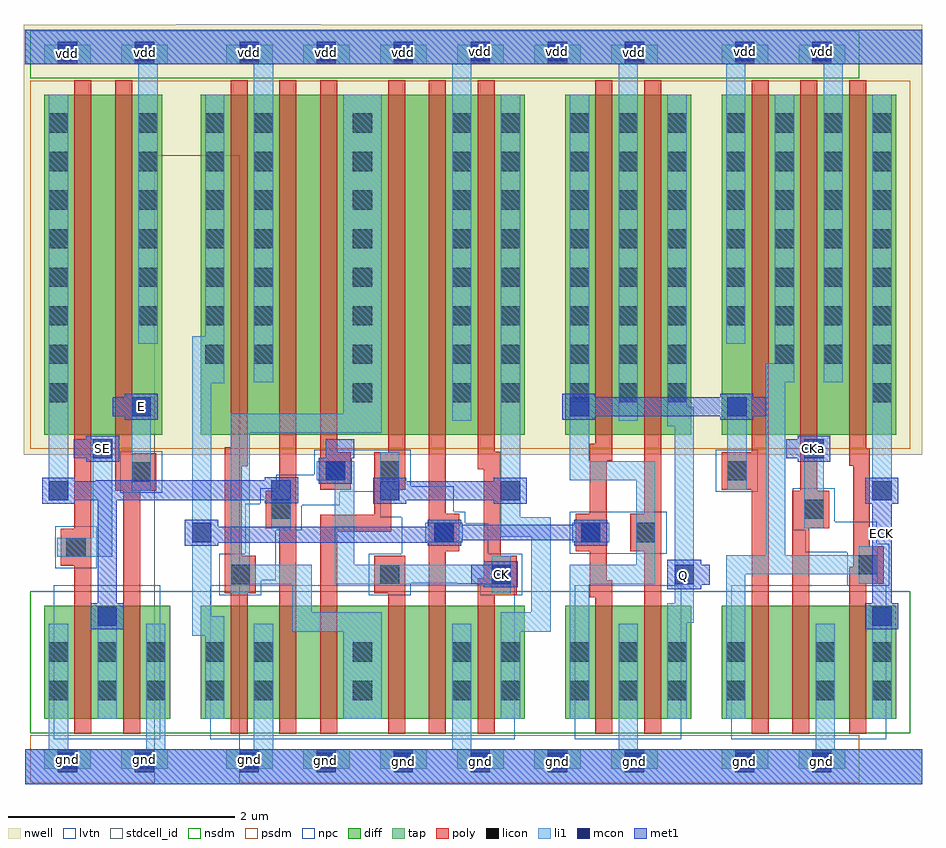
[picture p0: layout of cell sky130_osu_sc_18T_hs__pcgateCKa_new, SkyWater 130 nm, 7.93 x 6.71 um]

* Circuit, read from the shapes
.subckt sky130_osu_sc_18T_hs__pcgateCKa_new CK CKa E ECK Q SE gnd vdd
XM1 n1 SE gnd gnd sky130_fd_pr__nfet_01v8_lvt w=1 l=0.15
XM2 gnd E n1 gnd sky130_fd_pr__nfet_01v8_lvt w=1 l=0.15
XM3 gnd n2 n3 gnd sky130_fd_pr__nfet_01v8_lvt w=1 l=0.15
XM4 n4 n1 gnd gnd sky130_fd_pr__nfet_01v8_lvt w=1 l=0.15
XM5 n2 n5 n4 gnd sky130_fd_pr__nfet_01v8_lvt w=1 l=0.15
XM6 n6 CK n2 gnd sky130_fd_pr__nfet_01v8_lvt w=1 l=0.15
XM7 gnd n3 n6 gnd sky130_fd_pr__nfet_01v8_lvt w=1 l=0.15
XM8 n5 CK gnd gnd sky130_fd_pr__nfet_01v8_lvt w=1 l=0.15
XM9 gnd n3 n7 gnd sky130_fd_pr__nfet_01v8_lvt w=1 l=0.15
XM10 Q n7 gnd gnd sky130_fd_pr__nfet_01v8_lvt w=1 l=0.15
XM11 n8 n7 n9 gnd sky130_fd_pr__nfet_01v8_lvt w=1 l=0.15
XM12 gnd CKa n8 gnd sky130_fd_pr__nfet_01v8_lvt w=1 l=0.15
XM13 ECK n9 gnd gnd sky130_fd_pr__nfet_01v8_lvt w=1 l=0.15
XM14 n10 SE n1 vdd sky130_fd_pr__pfet_01v8 w=3 l=0.15
XM15 vdd E n10 vdd sky130_fd_pr__pfet_01v8 w=3 l=0.15
XM16 vdd n2 n3 vdd sky130_fd_pr__pfet_01v8 w=3 l=0.15
XM17 n11 n1 vdd vdd sky130_fd_pr__pfet_01v8 w=3 l=0.15
XM18 n2 CK n11 vdd sky130_fd_pr__pfet_01v8 w=3 l=0.15
XM19 n12 n5 n2 vdd sky130_fd_pr__pfet_01v8 w=3 l=0.15
XM20 vdd n3 n12 vdd sky130_fd_pr__pfet_01v8 w=3 l=0.15
XM21 n5 CK vdd vdd sky130_fd_pr__pfet_01v8 w=3 l=0.15
XM22 vdd n3 n7 vdd sky130_fd_pr__pfet_01v8 w=3 l=0.15
XM23 Q n7 vdd vdd sky130_fd_pr__pfet_01v8 w=3 l=0.15
XM24 n9 n7 vdd vdd sky130_fd_pr__pfet_01v8 w=3 l=0.15
XM25 vdd CKa n9 vdd sky130_fd_pr__pfet_01v8 w=3 l=0.15
XM26 ECK n9 vdd vdd sky130_fd_pr__pfet_01v8 w=3 l=0.15
.ends

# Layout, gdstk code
import gdstk
lib = gdstk.Library(unit=1e-6, precision=1e-09)
def R(c, l, rs):  # rectangles x0, y0, x1, y1
    for r in rs: c.add(gdstk.rectangle(r[:2], r[2:], *l))
def A(c, l, x, y, w, h, nx, ny, dx, dy):  # array of equal rectangles
    R(c, l, [(x+i*dx, y+j*dy, x+i*dx+w, y+j*dy+h) for i in range(nx) for j in range(ny)])
nwell = (64, 20)
diff = (65, 20)
tap = (65, 44)
poly = (66, 20)
licon = (66, 44)
li1 = (67, 20)
mcon = (67, 44)
met1 = (68, 20)
stdcell_id = (81, 4)
nsdm = (93, 44)
psdm = (94, 20)
npc = (95, 20)
lvtn = (125, 44)

sky130_osu_sc_18t_hs__pc = lib.new_cell('sky130_osu_sc_18T_hs__pcgateCKa_new')
R(sky130_osu_sc_18t_hs__pc, nwell, [(-1.345,2.905,6.585,6.705), (0,6.705,1.275,6.71)])
R(sky130_osu_sc_18t_hs__pc, diff, [(-1.165,0.575,-0.055,1.575), (0.215,0.575,3.075,1.575), (3.435,0.575,4.545,1.575), (4.815,0.575,6.355,1.575), (-1.165,3.085,-0.125,6.085), (0.215,3.085,3.075,6.085), (3.435,3.085,4.545,6.085), (4.815,3.085,6.355,6.085)])
A(sky130_osu_sc_18t_hs__pc, tap, 0.44, 0.135, 0.41, 0.17, 6, 2, 0.68, 6.22)
R(sky130_osu_sc_18t_hs__pc, tap, [(-1.165,0.135,-0.755,0.305), (-0.485,0.135,-0.075,0.305), (4.815,0.135,5.225,0.305), (5.495,0.135,5.905,0.305), (-1.165,6.355,-0.755,6.525), (-0.485,6.355,-0.075,6.525), (4.815,6.355,5.225,6.525), (5.495,6.355,5.905,6.525)])
R(sky130_osu_sc_18t_hs__pc, poly, [(-0.9,0.445,-0.75,1.925), (-0.47,0.445,-0.32,2.59), (0.48,0.445,0.63,1.685), (0.91,0.445,1.06,2.26), (1.27,0.445,1.42,2.225), (1.87,0.445,2.02,1.685), (2.23,0.445,2.38,2.055), (2.66,0.445,2.81,1.665), (3.7,0.445,3.85,1.65), (4.13,0.445,4.28,2.055), (5.08,0.445,5.23,2.6), (5.44,0.445,5.59,2.26), (5.94,0.445,6.09,1.77), (3.65,1.65,3.85,1.8), (2.66,1.665,3.005,1.815), (0.43,1.685,0.7,2.015), (1.75,1.685,2.02,2.015), (5.94,1.77,6.245,1.92), (3.65,1.8,3.8,2.055), (2.715,1.815,3.005,2.015), (5.975,1.92,6.245,2.1), (-1.02,1.925,-0.75,2.255), (0.43,2.015,0.58,2.805), (2.715,2.015,2.865,2.78), (2.23,2.055,2.5,2.385), (3.525,2.055,3.8,2.385), (4.01,2.055,4.28,2.385), (5.975,2.1,6.125,2.81), (1.27,2.225,1.9,2.375), (-0.9,2.255,-0.75,6.215), (0.79,2.26,1.06,2.59), (5.44,2.26,5.765,2.59), (1.75,2.375,1.9,2.6), (2.23,2.385,2.38,6.215), (3.65,2.385,3.8,2.855), (4.13,2.385,4.28,6.215), (-0.54,2.59,-0.175,2.92), (0.91,2.59,1.06,6.215), (5.51,2.59,5.66,6.215), (1.27,2.6,1.54,2.93), (1.75,2.6,2.02,2.93), (4.815,2.6,5.23,2.93), (2.66,2.78,2.865,2.935), (0.43,2.805,0.63,2.975), (5.94,2.81,6.125,2.96), (3.65,2.855,3.85,3.005), (-0.54,2.92,-0.39,6.215), (1.27,2.93,1.42,6.215), (1.87,2.93,2.02,6.215), (5.08,2.93,5.23,6.215), (2.66,2.935,2.81,6.215), (5.94,2.96,6.09,6.215), (0.48,2.975,0.63,6.215), (3.7,3.005,3.85,6.215)])
A(sky130_osu_sc_18t_hs__pc, licon, 0.56, 0.135, 0.17, 0.17, 6, 2, 0.68, 6.22)
A(sky130_osu_sc_18t_hs__pc, licon, -1.125, 0.74, 0.17, 0.17, 3, 2, 0.43, 0.34)
A(sky130_osu_sc_18t_hs__pc, licon, 0.685, 0.74, 0.17, 0.17, 3, 2, 0.875, 0.34)
A(sky130_osu_sc_18t_hs__pc, licon, 3.475, 0.74, 0.17, 0.17, 3, 2, 0.43, 0.34)
A(sky130_osu_sc_18t_hs__pc, licon, -1.125, 3.37, 0.17, 0.17, 1, 8, 0, 0.34)
A(sky130_osu_sc_18t_hs__pc, licon, 2.865, 3.37, 0.17, 0.17, 1, 8, 0, 0.34)
A(sky130_osu_sc_18t_hs__pc, licon, 3.475, 3.37, 0.17, 0.17, 3, 8, 0.43, 0.34)
A(sky130_osu_sc_18t_hs__pc, licon, 0.255, 3.71, 0.17, 0.17, 1, 7, 0, 0.34)
A(sky130_osu_sc_18t_hs__pc, licon, 0.685, 3.71, 0.17, 0.17, 3, 7, 0.875, 0.34)
A(sky130_osu_sc_18t_hs__pc, licon, 5.285, 3.71, 0.17, 0.17, 3, 1, 0.43, 0)
A(sky130_osu_sc_18t_hs__pc, licon, -0.335, 4.05, 0.17, 0.17, 1, 6, 0, 0.34)
A(sky130_osu_sc_18t_hs__pc, licon, 4.855, 4.05, 0.17, 0.17, 4, 6, 0.43, 0.34)
R(sky130_osu_sc_18t_hs__pc, licon, [(-1.045,0.135,-0.875,0.305), (-0.365,0.135,-0.195,0.305), (4.935,0.135,5.105,0.305), (5.615,0.135,5.785,0.305), (0.255,0.74,0.425,0.91), (2.865,0.74,3.035,0.91), (4.855,0.74,5.025,0.91), (5.645,0.74,5.815,0.91), (6.145,0.74,6.315,0.91), (0.255,1.08,0.425,1.25), (2.865,1.08,3.035,1.25), (4.855,1.08,5.025,1.25), (5.645,1.08,5.815,1.25), (6.145,1.08,6.315,1.25), (0.48,1.765,0.65,1.935), (1.8,1.765,1.97,1.935), (2.785,1.765,2.955,1.935), (6.025,1.85,6.195,2.02), (-0.97,2.005,-0.8,2.175), (2.28,2.135,2.45,2.305), (3.575,2.135,3.745,2.305), (4.06,2.135,4.23,2.305), (0.84,2.34,1.01,2.51), (5.545,2.34,5.715,2.51), (-0.395,2.67,-0.225,2.84), (1.32,2.68,1.49,2.85), (1.8,2.68,1.97,2.85), (4.865,2.68,5.035,2.85), (1.56,3.37,1.73,3.54), (2.435,3.37,2.605,3.54), (6.145,3.37,6.315,3.54), (-1.045,6.355,-0.875,6.525), (-0.365,6.355,-0.195,6.525), (4.935,6.355,5.105,6.525), (5.615,6.355,5.785,6.525)])
R(sky130_osu_sc_18t_hs__pc, li1, [(-1.335,0,6.585,0.305), (-1.125,0.305,-0.955,1.415), (-0.265,0.305,-0.095,1.415), (0.685,0.305,0.855,1.415), (2.435,0.305,2.605,1.415), (3.905,0.305,4.075,1.415), (5.645,0.305,5.815,1.415), (-0.695,0.575,-0.525,1.565), (0.255,0.575,0.425,1.31), (1.475,0.575,1.815,1.345), (2.865,0.575,3.035,1.345), (3.475,0.575,3.645,1.765), (4.335,0.575,4.505,1.425), (4.855,0.575,5.025,1.85), (6.145,0.575,6.315,1.565), (0.14,1.31,0.425,1.48), (1.025,1.345,1.815,1.515), (2.865,1.345,3.305,1.515), (4.335,1.425,4.57,1.595), (0.14,1.48,0.31,3.54), (1.025,1.515,1.195,1.765), (3.135,1.515,3.305,2.185), (4.4,1.595,4.57,3.16), (0.48,1.685,0.65,1.765), (2.785,1.685,2.955,1.765), (0.48,1.765,1.195,1.935), (1.4,1.765,2.955,1.935), (3.475,1.765,4.23,1.935), (6.025,1.77,6.195,1.85), (4.855,1.85,6.195,2.02), (0.48,1.935,0.65,3.1), (1.4,1.935,1.57,2.68), (2.785,1.935,2.955,2.015), (4.06,1.935,4.23,2.68), (-1.05,2.005,-0.565,2.175), (5.205,2.02,5.375,3.545), (6.025,2.02,6.195,2.1), (2.2,2.135,2.53,2.305), (3.495,2.135,3.825,2.305), (-0.735,2.175,-0.565,3.045), (2.865,2.185,3.305,2.355), (0.84,2.26,1.01,2.68), (5.545,2.26,5.715,3.045), (2.865,2.355,3.035,6.085), (-1.125,2.505,-0.955,6.085), (1.8,2.505,1.97,2.93), (6.145,2.505,6.315,6.085), (-0.395,2.59,-0.225,3.415), (4.865,2.6,5.035,3.415), (1.24,2.68,1.57,2.85), (3.475,2.68,4.23,2.85), (3.475,2.85,3.645,6.085), (0.48,3.1,1.815,3.27), (4.335,3.16,4.57,3.33), (2.435,3.205,2.605,6.355), (3.905,3.205,4.075,6.355), (1.475,3.27,1.815,6.085), (4.335,3.33,4.505,6.085), (0.14,3.54,0.425,3.955), (0.685,3.545,0.855,6.355), (5.205,3.545,5.455,3.715), (5.715,3.545,5.885,6.355), (5.285,3.715,5.455,6.085), (-0.335,3.885,-0.165,6.355), (4.855,3.885,5.025,6.355), (0.255,3.955,0.425,6.085), (-1.335,6.355,6.585,6.66)])
A(sky130_osu_sc_18t_hs__pc, mcon, 0.56, 0.105, 0.17, 0.17, 6, 2, 0.68, 6.28)
R(sky130_osu_sc_18t_hs__pc, mcon, [(-1.045,0.105,-0.875,0.275), (-0.365,0.105,-0.195,0.275), (4.935,0.105,5.105,0.275), (5.615,0.105,5.785,0.275), (-0.695,1.395,-0.525,1.565), (6.145,1.395,6.315,1.565), (2.785,1.765,2.955,1.935), (4.4,1.765,4.57,1.935), (0.14,2.135,0.31,2.305), (2.28,2.135,2.45,2.305), (3.575,2.135,3.745,2.305), (-1.125,2.505,-0.955,2.675), (1.8,2.505,1.97,2.675), (2.865,2.505,3.035,2.675), (6.145,2.505,6.315,2.675), (0.84,2.51,1.01,2.68), (1.32,2.68,1.49,2.85), (-0.735,2.875,-0.565,3.045), (5.545,2.875,5.715,3.045), (-0.395,3.245,-0.225,3.415), (3.475,3.245,3.645,3.415), (4.865,3.245,5.035,3.415), (-1.045,6.385,-0.875,6.555), (-0.365,6.385,-0.195,6.555), (4.935,6.385,5.105,6.555), (5.615,6.385,5.785,6.555)])
R(sky130_osu_sc_18t_hs__pc, met1, [(-1.335,0,6.585,0.305), (-0.755,1.365,-0.465,1.595), (6.085,1.365,6.375,1.595), (-0.695,1.595,-0.525,2.505), (6.145,1.595,6.315,2.475), (4.335,1.72,4.635,1.76), (2.715,1.735,3.015,1.765), (4.335,1.76,4.71,1.935), (2.605,1.765,3.015,1.935), (2.715,1.935,3.015,1.965), (4.335,1.935,4.635,1.98), (0.075,2.105,0.37,2.13), (2.22,2.105,2.515,2.13), (3.515,2.105,3.805,2.15), (0.075,2.13,2.515,2.15), (0.075,2.15,3.805,2.27), (0.075,2.27,0.37,2.335), (2.22,2.27,3.805,2.29), (2.22,2.29,2.515,2.335), (3.515,2.29,3.805,2.335), (-1.185,2.475,-0.895,2.505), (1.74,2.475,2.03,2.505), (2.805,2.475,3.095,2.505), (6.085,2.475,6.375,2.705), (0.78,2.48,1.075,2.505), (-1.185,2.505,1.075,2.675), (1.74,2.505,3.095,2.675), (1.26,2.65,1.55,2.875), (-1.185,2.675,-0.895,2.705), (-0.71,2.675,1.075,2.68), (1.74,2.675,2.03,2.705), (2.805,2.675,3.095,2.705), (0.78,2.68,1.075,2.71), (-0.795,2.845,-0.505,2.875), (5.485,2.845,5.775,2.875), (-0.905,2.875,-0.505,3.045), (1.26,2.875,1.57,2.88), (5.385,2.875,5.775,3.045), (1.32,2.88,1.57,3.045), (-0.795,3.045,-0.505,3.075), (5.485,3.045,5.775,3.075), (-0.455,3.215,-0.165,3.245), (3.41,3.215,3.7,3.245), (4.805,3.215,5.095,3.245), (-0.56,3.245,-0.165,3.415), (3.41,3.245,5.205,3.415), (-0.455,3.415,-0.165,3.445), (3.41,3.415,3.7,3.445), (4.805,3.415,5.095,3.445), (-1.335,6.355,6.585,6.66)])
R(sky130_osu_sc_18t_hs__pc, stdcell_id, [(-0.195,0,0.56,5.55)])
R(sky130_osu_sc_18t_hs__pc, nsdm, [(-1.29,0.45,6.48,1.7), (-1.29,6.23,6.03,6.65)])
R(sky130_osu_sc_18t_hs__pc, psdm, [(-0.195,0,0.56,0.01), (-1.29,0.01,6.03,0.43), (-1.29,2.96,6.48,6.21)])
R(sky130_osu_sc_18t_hs__pc, npc, [(0.38,1.665,0.75,1.8), (1.7,1.665,2.07,1.775), (2.685,1.665,3.055,1.77), (5.925,1.75,6.295,2.045), (2.48,1.77,3.055,1.775), (1.7,1.775,3.055,2.035), (0.38,1.8,0.88,2.035), (-1.07,1.905,-0.7,2.275), (0.61,2.035,0.88,2.24), (1.99,2.035,2.755,2.3), (3.475,2.035,4.33,2.405), (5.555,2.045,6.295,2.12), (5.555,2.12,6.185,2.24), (0.61,2.24,1.11,2.46), (5.445,2.24,6.185,2.315), (1.99,2.3,2.55,2.355), (5.445,2.315,5.815,2.61), (1.8,2.355,2.55,2.405), (1.8,2.405,2.45,2.58), (0.61,2.46,1.445,2.475), (0.74,2.475,1.445,2.58), (-0.495,2.57,-0.125,2.94), (0.74,2.58,2.45,2.61), (4.765,2.58,5.135,2.95), (0.885,2.61,2.45,2.63), (0.885,2.63,2.07,2.73), (1.22,2.73,2.07,2.95)])
R(sky130_osu_sc_18t_hs__pc, lvtn, [(-1.08,0.395,-0.14,1.755), (0.3,0.395,2.99,1.755), (3.52,0.395,4.46,1.755), (4.9,0.395,6.27,1.755)])
sky130_osu_sc_18t_hs__pc.add(gdstk.Label('gnd', (-0.96,0.22), layer=68, texttype=16))
sky130_osu_sc_18t_hs__pc.add(gdstk.Label('gnd', (-0.28,0.22), layer=68, texttype=16))
sky130_osu_sc_18t_hs__pc.add(gdstk.Label('gnd', (0.645,0.22), layer=68, texttype=16))
sky130_osu_sc_18t_hs__pc.add(gdstk.Label('gnd', (1.32,0.21), layer=68, texttype=16))
sky130_osu_sc_18t_hs__pc.add(gdstk.Label('gnd', (2.005,0.195), layer=68, texttype=16))
sky130_osu_sc_18t_hs__pc.add(gdstk.Label('gnd', (2.685,0.195), layer=68, texttype=16))
sky130_osu_sc_18t_hs__pc.add(gdstk.Label('gnd', (3.365,0.2), layer=68, texttype=16))
sky130_osu_sc_18t_hs__pc.add(gdstk.Label('gnd', (4.045,0.2), layer=68, texttype=16))
sky130_osu_sc_18t_hs__pc.add(gdstk.Label('gnd', (5.02,0.2), layer=68, texttype=16))
sky130_osu_sc_18t_hs__pc.add(gdstk.Label('gnd', (5.7,0.2), layer=68, texttype=16))
sky130_osu_sc_18t_hs__pc.add(gdstk.Label('vdd', (-0.96,6.45), layer=68, texttype=16))
sky130_osu_sc_18t_hs__pc.add(gdstk.Label('vdd', (-0.275,6.455), layer=68, texttype=16))
sky130_osu_sc_18t_hs__pc.add(gdstk.Label('vdd', (0.645,6.46), layer=68, texttype=16))
sky130_osu_sc_18t_hs__pc.add(gdstk.Label('vdd', (1.325,6.46), layer=68, texttype=16))
sky130_osu_sc_18t_hs__pc.add(gdstk.Label('vdd', (2.005,6.46), layer=68, texttype=16))
sky130_osu_sc_18t_hs__pc.add(gdstk.Label('vdd', (2.69,6.47), layer=68, texttype=16))
sky130_osu_sc_18t_hs__pc.add(gdstk.Label('vdd', (3.365,6.465), layer=68, texttype=16))
sky130_osu_sc_18t_hs__pc.add(gdstk.Label('vdd', (4.045,6.46), layer=68, texttype=16))
sky130_osu_sc_18t_hs__pc.add(gdstk.Label('vdd', (5.025,6.465), layer=68, texttype=16))
sky130_osu_sc_18t_hs__pc.add(gdstk.Label('vdd', (5.705,6.465), layer=68, texttype=16))
sky130_osu_sc_18t_hs__pc.add(gdstk.Label('SE', (-0.655,2.96), layer=68, texttype=5))
sky130_osu_sc_18t_hs__pc.add(gdstk.Label('E', (-0.31,3.335), layer=68, texttype=5))
sky130_osu_sc_18t_hs__pc.add(gdstk.Label('CK', (2.87,1.85), layer=68, texttype=5))
sky130_osu_sc_18t_hs__pc.add(gdstk.Label('ECK', (6.225,2.215), layer=68, texttype=5))
sky130_osu_sc_18t_hs__pc.add(gdstk.Label('Q', (4.475,1.84), layer=68, texttype=5))
sky130_osu_sc_18t_hs__pc.add(gdstk.Label('CKa', (5.63,2.965), layer=68, texttype=5))

lib.write_gds('sky130_osu_sc_18T_hs__pcgateCKa_new.gds')
